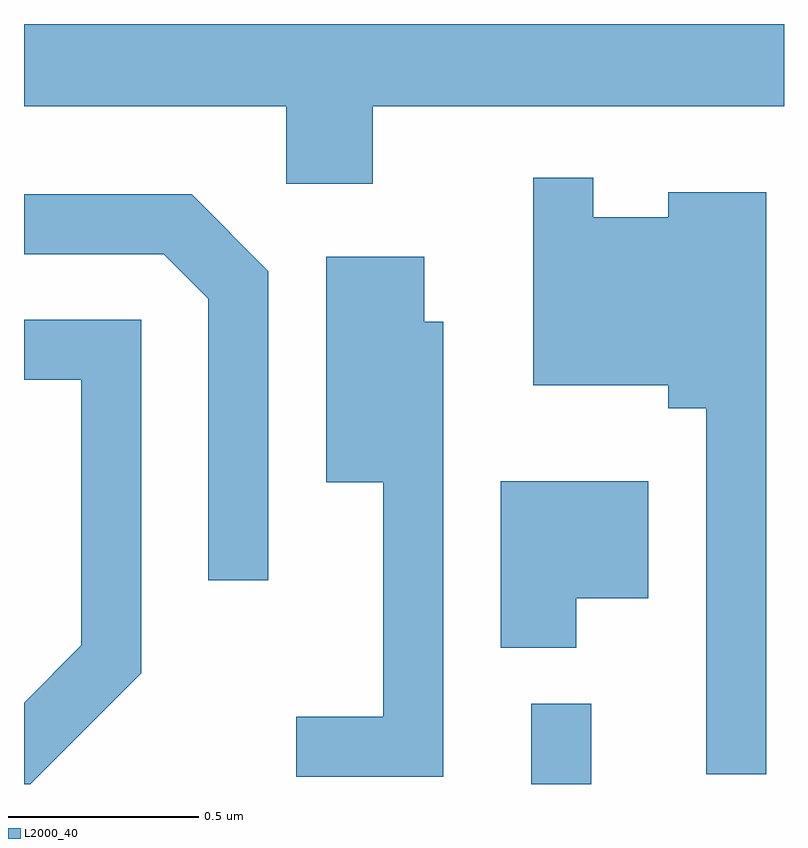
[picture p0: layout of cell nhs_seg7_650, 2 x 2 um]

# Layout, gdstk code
import gdstk
lib = gdstk.Library(unit=1e-6, precision=1e-09)
def R(c, l, rs):  # rectangles x0, y0, x1, y1
    for r in rs: c.add(gdstk.rectangle(r[:2], r[2:], *l))
def P(c, l, *ps):  # polygons
    for p in ps: c.add(gdstk.Polygon(p, *l))
L2000_40 = (2000, 40)

nhs_seg7_650 = lib.new_cell('nhs_seg7_650')
R(nhs_seg7_650, L2000_40, [(190.946,1770.252,191.104,1770.463)])
P(nhs_seg7_650, L2000_40, [(190.529,1772.036),(191.611,1772.036),(191.611,1772.252),(189.611,1772.252),(189.611,1772.036),(190.301,1772.036),(190.301,1771.831),(190.529,1771.831)],
  [(191.564,1771.809),(191.306,1771.809),(191.306,1771.744),(191.109,1771.744),(191.109,1771.848),(190.951,1771.848),(190.951,1771.301),(191.306,1771.301),(191.306,1771.241),(191.406,1771.241),(191.406,1770.278),(191.564,1770.278)],
  [(190.254,1771.602),(190.052,1771.804),(189.611,1771.804),(189.611,1771.646),(189.979,1771.646),(190.096,1771.529),(190.096,1770.788),(190.254,1770.788)],
  [(190.714,1771.469),(190.664,1771.469),(190.664,1771.639),(190.406,1771.639),(190.406,1771.046),(190.556,1771.046),(190.556,1770.429),(190.328,1770.429),(190.328,1770.271),(190.714,1770.271)],
  [(189.919,1770.544),(189.919,1771.474),(189.611,1771.474),(189.611,1771.316),(189.761,1771.316),(189.761,1770.617),(189.611,1770.466),(189.611,1770.252),(189.628,1770.252)],
  [(191.064,1770.741),(191.254,1770.741),(191.254,1771.049),(190.866,1771.049),(190.866,1770.611),(191.064,1770.611)])

lib.write_gds('nhs_seg7_650.gds')
